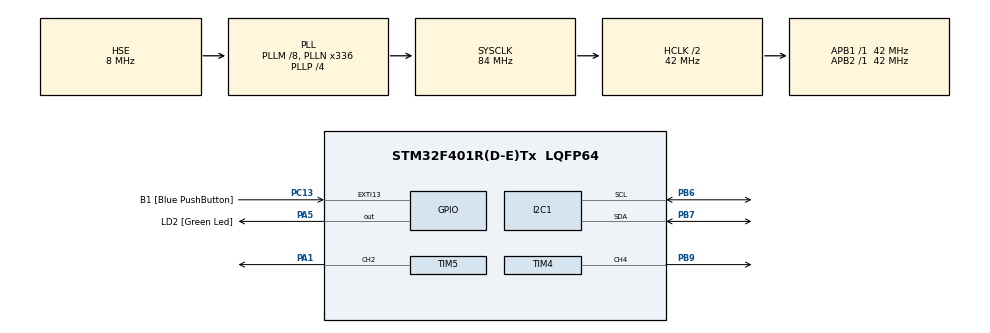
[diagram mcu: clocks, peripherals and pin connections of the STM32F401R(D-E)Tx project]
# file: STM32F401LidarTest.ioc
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I2C1.OwnAddress=0x52
Mcu.Family=STM32F4
Mcu.Name=STM32F401R(D-E)Tx
Mcu.Package=LQFP64
NVIC.PriorityGroup=NVIC_PRIORITYGROUP_0
PA1.Signal=S_TIM5_CH2
PA13.GPIO_Label=TMS
PA13.Mode=Serial_Wire
PA13.Signal=SYS_JTMS-SWDIO
PA14.GPIO_Label=TCK
PA14.Mode=Serial_Wire
PA14.Signal=SYS_JTCK-SWCLK
PA2.GPIO_Label=USART_TX
PA2.GPIO_Mode=GPIO_MODE_AF_PP
PA2.GPIO_PuPd=GPIO_NOPULL
PA2.GPIO_Speed=GPIO_SPEED_FREQ_LOW
PA2.Signal=USART2_TX
PA3.GPIO_Label=USART_RX
PA3.GPIO_Mode=GPIO_MODE_AF_PP
PA3.GPIO_PuPd=GPIO_NOPULL
PA3.GPIO_Speed=GPIO_SPEED_FREQ_LOW
PA3.Signal=USART2_RX
PA5.GPIO_Label=LD2 [Green Led]
PA5.GPIO_Mode=GPIO_MODE_OUTPUT_PP
PA5.GPIO_PuPd=GPIO_NOPULL
PA5.GPIO_Speed=GPIO_SPEED_FREQ_HIGH
PA5.PinState=GPIO_PIN_RESET
PA5.Signal=GPIO_Output
PB3.GPIO_Label=SWO
PB3.Signal=SYS_JTDO-SWO
PB6.Mode=I2C
PB6.Signal=I2C1_SCL
PB7.Mode=I2C
PB7.Signal=I2C1_SDA
PB9.GPIO_Speed=GPIO_SPEED_FREQ_HIGH
PB9.Signal=S_TIM4_CH4
PC13-ANTI_TAMP.GPIO_Label=B1 [Blue PushButton]
PC13-ANTI_TAMP.GPIO_ModeDefaultEXTI=GPIO_MODE_IT_FALLING
PC13-ANTI_TAMP.GPIO_PuPd=GPIO_NOPULL
PC13-ANTI_TAMP.Signal=GPXTI13
PC14-OSC32_IN.Mode=LSE-External-Oscillator
PC14-OSC32_IN.Signal=RCC_OSC32_IN
PC15-OSC32_OUT.Mode=LSE-External-Oscillator
PC15-OSC32_OUT.Signal=RCC_OSC32_OUT
PH0\ -\ OSC_IN.Mode=HSE-External-Oscillator
PH0\ -\ OSC_IN.Signal=RCC_OSC_IN
PH1\ -\ OSC_OUT.Mode=HSE-External-Oscillator
PH1\ -\ OSC_OUT.Signal=RCC_OSC_OUT
ProjectManager.HeapSize=0x200
ProjectManager.StackSize=0x400
ProjectManager.TargetToolchain=STM32CubeIDE
RCC.48MHZClocksFreq_Value=48000000
RCC.AHBCLKDivider=RCC_SYSCLK_DIV2
RCC.AHBFreq_Value=42000000
RCC.APB1Freq_Value=42000000
RCC.APB1TimFreq_Value=42000000
RCC.APB2Freq_Value=42000000
RCC.APB2TimFreq_Value=42000000
RCC.CortexFreq_Value=42000000
RCC.HCLKFreq_Value=42000000
RCC.HSE_VALUE=8000000
RCC.HSI_VALUE=16000000
RCC.PLLM=8
RCC.PLLN=336
RCC.PLLP=RCC_PLLP_DIV4
RCC.PLLQ=7
RCC.PLLSourceVirtual=RCC_PLLSOURCE_HSE
RCC.SYSCLKFreq_VALUE=84000000
RCC.SYSCLKSource=RCC_SYSCLKSOURCE_PLLCLK
RCC.VCOOutputFreq_Value=336000000
SH.S_TIM4_CH4.0=TIM4_CH4,PWM Generation4 CH4
SH.S_TIM5_CH2.0=TIM5_CH2,PWM Generation2 CH2
TIM3.Prescaler=8400
TIM4.Channel-PWM\ Generation4\ CH4=TIM_CHANNEL_4
TIM4.Prescaler=12
TIM4.Pulse-PWM\ Generation4\ CH4=1000
TIM4.TIM_MasterOutputTrigger=TIM_TRGO_UPDATE
TIM5.Channel-PWM\ Generation2\ CH2=TIM_CHANNEL_2
TIM5.Period=840000
TIM5.Prescaler=1
TIM5.Pulse-PWM\ Generation2\ CH2=1000
TIM5.TIM_MasterOutputTrigger=TIM_TRGO_UPDATE
VP_TIM3_VS_ClockSourceINT.Mode=Internal
VP_TIM4_VS_ClockSourceINT.Mode=Internal
board=NUCLEO-F401RE

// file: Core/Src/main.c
/* USER CODE BEGIN Header */
/**
  ******************************************************************************
  * @file           : main.c
  * @brief          : Main program body
  ******************************************************************************
  * @attention
  *
  * Copyright (c) 2022 STMicroelectronics.
  * All rights reserved.
  *
  * This software is licensed under terms that can be found in the LICENSE file
  * in the root directory of this software component.
  * If no LICENSE file comes with this software, it is provided AS-IS.
  *
  ******************************************************************************
  */
/* USER CODE END Header */
#include "main.h"

/* USER CODE BEGIN Includes */
#include "VL53L1X_api.h"
#include "VL53L1X_calibration.h"
#include "vl53l1_platform.h"
#include "vl53l1_types.h"
/* USER CODE END Includes */

/* USER CODE BEGIN PM */

I2C_HandleTypeDef hi2c1;
/* USER CODE END PM */

TIM_HandleTypeDef htim3;
TIM_HandleTypeDef htim4;
TIM_HandleTypeDef htim5;

void SystemClock_Config(void);
static void MX_GPIO_Init(void);
static void MX_TIM4_Init(void);
static void MX_TIM5_Init(void);
static void MX_TIM3_Init(void);
static void MX_I2C1_Init(void);

/* USER CODE BEGIN 0 */

void startIdleTimer(uint16_t period){

	HAL_TIM_Base_Init(&htim3);
	TIM3->ARR=period;
	TIM3->CNT=0;
	HAL_TIM_Base_Start(&htim3);
}

void waitForIdleTimer(){
	while((TIM3->CNT+1)>=TIM3->ARR);
}

uint16_t interpolate(float ratio,uint16_t min,uint16_t max){

	return min+(((float)(max-min))*ratio);

}
#define rxDataLen 4
uint16_t	dev=0x52;
int status=0;
volatile int IntCount;
#define isInterrupt 0

I2C_HandleTypeDef * pLaserI2Chandle;

/*
float getDist(){
	uint8_t
	uint32_t response = HAL_I2C_Master_Transmit(&hi2c1, 0x52, , , 100);
	uint8_t rxData[rxDataLen];
	HAL_I2C_Master_Receive(&hi2c1, 0x53,rxData,rxDataLen,100);
}*/
/* USER CODE END 0 */

int main(void)
{

  /* MCU Configuration--------------------------------------------------------*/

  /* Reset of all peripherals, Initializes the Flash interface and the Systick. */
  HAL_Init();

  /* Configure the system clock */
  SystemClock_Config();

  /* Initialize all configured peripherals */
  MX_GPIO_Init();
  MX_TIM4_Init();
  MX_TIM5_Init();
  MX_TIM3_Init();
  MX_I2C1_Init();
  /* USER CODE BEGIN 2 */

  float position=0;
  uint8_t dir=0;
  volatile float increment=0.01;
  uint16_t potMax=TIM4->ARR*0.26;
  uint16_t potMin=TIM4->ARR*0.05;
  volatile uint8_t allowTurn=0;

  //for laser
  uint8_t byteData, sensorState=0;
  uint16_t wordData;
  uint8_t ToFSensor = 1; // 0=Left, 1=Center(default), 2=Right
  uint16_t Distance;
  uint16_t SignalRate;
  uint16_t AmbientRate;
  uint16_t SpadNum;
  uint8_t RangeStatus;
  uint8_t dataReady;

  HAL_TIM_Base_Init(&htim3);
  HAL_TIM_PWM_Init(&htim4);
  HAL_TIM_Base_Start(&htim3);

  HAL_TIM_PWM_Start(&htim4, TIM_CHANNEL_4);

  HAL_I2C_Init(&hi2c1);

  pLaserI2Chandle=&hi2c1;
  volatile uint8_t bootState=0;
  VL53L1X_BootState(dev, bootState);

  status = VL53L1_RdByte(dev, 0x010F, &byteData);

    status = VL53L1_RdByte(dev, 0x0110, &byteData);
    status = VL53L1_RdWord(dev, 0x010F, &wordData);
    while(sensorState==0){
  		status = VL53L1X_BootState(dev, &sensorState);
  	HAL_Delay(2);
    }

  status = VL53L1X_SensorInit(dev);
  status = VL53L1X_SetDistanceMode(dev, 2); /* 1=short, 2=long */
  status = VL53L1X_SetTimingBudgetInMs(dev, 100); /* in ms possible values [20, 50, 100, 200, 500] */
  status = VL53L1X_SetInterMeasurementInMs(dev, 100); /* in ms, IM must be > = TB */

  status = VL53L1X_StartRanging(dev);

  /* USER CODE END 2 */
  /* Infinite loop */
  /* USER CODE BEGIN WHILE */
  while (1)
  {
	  //startIdleTimer(idleTime);

	  switch (allowTurn) {
	  case 0:
		  if(position!=0){
			  position=0;
			  TIM4->CCR4=potMin;
		  }
		  break;
	  default:

		  switch (dir) {
		  case 0:
			  if(position>=1-increment){
				  dir=1;
				  position=1;
			  }
			  else{
				  position+=increment;
			  }

			  break;
		  case 1:
			  if(position<=increment){
				  dir=0;
				  position=0;
			  }
			  else{
				  position-=increment;
			  }

			  break;
		  }

		  TIM4->CCR4=interpolate(position,potMin,potMax);

		  break;
	  }
	  while (dataReady == 0){
	  		  status = VL53L1X_CheckForDataReady(dev, &dataReady);
	  		  HAL_Delay(2);
	  	  }
	  	  dataReady = 0;
	  	  status = VL53L1X_GetRangeStatus(dev, &RangeStatus);
	  	  status = VL53L1X_GetDistance(dev, &Distance);
	  	  status = VL53L1X_GetSignalRate(dev, &SignalRate);
	  	  status = VL53L1X_GetAmbientRate(dev, &AmbientRate);
	  	  status = VL53L1X_GetSpadNb(dev, &SpadNum);
	  	  status = VL53L1X_ClearInterrupt(dev); /* clear interrupt has to be called to enable next interrupt*/
	  	  printf("%u, %u, %u, %u, %u\n", RangeStatus, Distance, SignalRate, AmbientRate,SpadNum);

    /* USER CODE END WHILE */

  }
}

void SystemClock_Config(void)
{
  RCC_OscInitTypeDef RCC_OscInitStruct = {0};
  RCC_ClkInitTypeDef RCC_ClkInitStruct = {0};

  /** Configure the main internal regulator output voltage
  */
  __HAL_RCC_PWR_CLK_ENABLE();
  __HAL_PWR_VOLTAGESCALING_CONFIG(PWR_REGULATOR_VOLTAGE_SCALE2);

  /** Initializes the RCC Oscillators according to the specified parameters
  * in the RCC_OscInitTypeDef structure.
  */
  RCC_OscInitStruct.OscillatorType = RCC_OSCILLATORTYPE_HSE;
  RCC_OscInitStruct.HSEState = RCC_HSE_ON;
  RCC_OscInitStruct.PLL.PLLState = RCC_PLL_ON;
  RCC_OscInitStruct.PLL.PLLSource = RCC_PLLSOURCE_HSE;
  RCC_OscInitStruct.PLL.PLLM = 8;
  RCC_OscInitStruct.PLL.PLLN = 336;
  RCC_OscInitStruct.PLL.PLLP = RCC_PLLP_DIV4;
  RCC_OscInitStruct.PLL.PLLQ = 7;
  if (HAL_RCC_OscConfig(&RCC_OscInitStruct) != HAL_OK)
  {
    Error_Handler();
  }

  /** Initializes the CPU, AHB and APB buses clocks
  */
  RCC_ClkInitStruct.ClockType = RCC_CLOCKTYPE_HCLK|RCC_CLOCKTYPE_SYSCLK
                              |RCC_CLOCKTYPE_PCLK1|RCC_CLOCKTYPE_PCLK2;
  RCC_ClkInitStruct.SYSCLKSource = RCC_SYSCLKSOURCE_PLLCLK;
  RCC_ClkInitStruct.AHBCLKDivider = RCC_SYSCLK_DIV2;
  RCC_ClkInitStruct.APB1CLKDivider = RCC_HCLK_DIV1;
  RCC_ClkInitStruct.APB2CLKDivider = RCC_HCLK_DIV1;

  if (HAL_RCC_ClockConfig(&RCC_ClkInitStruct, FLASH_LATENCY_1) != HAL_OK)
  {
    Error_Handler();
  }
}

static void MX_I2C1_Init(void)
{

  hi2c1.Instance = I2C1;
  hi2c1.Init.ClockSpeed = 100000;
  hi2c1.Init.DutyCycle = I2C_DUTYCYCLE_2;
  hi2c1.Init.OwnAddress1 = 164;
  hi2c1.Init.AddressingMode = I2C_ADDRESSINGMODE_7BIT;
  hi2c1.Init.DualAddressMode = I2C_DUALADDRESS_DISABLE;
  hi2c1.Init.OwnAddress2 = 0;
  hi2c1.Init.GeneralCallMode = I2C_GENERALCALL_DISABLE;
  hi2c1.Init.NoStretchMode = I2C_NOSTRETCH_DISABLE;
  if (HAL_I2C_Init(&hi2c1) != HAL_OK)
  {
    Error_Handler();
  }

}

static void MX_TIM3_Init(void)
{

  TIM_ClockConfigTypeDef sClockSourceConfig = {0};
  TIM_MasterConfigTypeDef sMasterConfig = {0};

  htim3.Instance = TIM3;
  htim3.Init.Prescaler = 8400;
  htim3.Init.CounterMode = TIM_COUNTERMODE_UP;
  htim3.Init.Period = 65535;
  htim3.Init.ClockDivision = TIM_CLOCKDIVISION_DIV1;
  htim3.Init.AutoReloadPreload = TIM_AUTORELOAD_PRELOAD_DISABLE;
  if (HAL_TIM_Base_Init(&htim3) != HAL_OK)
  {
    Error_Handler();
  }
  sClockSourceConfig.ClockSource = TIM_CLOCKSOURCE_INTERNAL;
  if (HAL_TIM_ConfigClockSource(&htim3, &sClockSourceConfig) != HAL_OK)
  {
    Error_Handler();
  }
  sMasterConfig.MasterOutputTrigger = TIM_TRGO_RESET;
  sMasterConfig.MasterSlaveMode = TIM_MASTERSLAVEMODE_DISABLE;
  if (HAL_TIMEx_MasterConfigSynchronization(&htim3, &sMasterConfig) != HAL_OK)
  {
    Error_Handler();
  }

}

static void MX_TIM4_Init(void)
{

  TIM_ClockConfigTypeDef sClockSourceConfig = {0};
  TIM_MasterConfigTypeDef sMasterConfig = {0};
  TIM_OC_InitTypeDef sConfigOC = {0};

  htim4.Instance = TIM4;
  htim4.Init.Prescaler = 12;
  htim4.Init.CounterMode = TIM_COUNTERMODE_UP;
  htim4.Init.Period = 65535;
  htim4.Init.ClockDivision = TIM_CLOCKDIVISION_DIV1;
  htim4.Init.AutoReloadPreload = TIM_AUTORELOAD_PRELOAD_DISABLE;
  if (HAL_TIM_Base_Init(&htim4) != HAL_OK)
  {
    Error_Handler();
  }
  sClockSourceConfig.ClockSource = TIM_CLOCKSOURCE_INTERNAL;
  if (HAL_TIM_ConfigClockSource(&htim4, &sClockSourceConfig) != HAL_OK)
  {
    Error_Handler();
  }
  if (HAL_TIM_PWM_Init(&htim4) != HAL_OK)
  {
    Error_Handler();
  }
  sMasterConfig.MasterOutputTrigger = TIM_TRGO_UPDATE;
  sMasterConfig.MasterSlaveMode = TIM_MASTERSLAVEMODE_DISABLE;
  if (HAL_TIMEx_MasterConfigSynchronization(&htim4, &sMasterConfig) != HAL_OK)
  {
    Error_Handler();
  }
  sConfigOC.OCMode = TIM_OCMODE_PWM1;
  sConfigOC.Pulse = 1000;
  sConfigOC.OCPolarity = TIM_OCPOLARITY_HIGH;
  sConfigOC.OCFastMode = TIM_OCFAST_DISABLE;
  if (HAL_TIM_PWM_ConfigChannel(&htim4, &sConfigOC, TIM_CHANNEL_4) != HAL_OK)
  {
    Error_Handler();
  }
  HAL_TIM_MspPostInit(&htim4);

}

static void MX_TIM5_Init(void)
{

  TIM_MasterConfigTypeDef sMasterConfig = {0};
  TIM_OC_InitTypeDef sConfigOC = {0};

  htim5.Instance = TIM5;
  htim5.Init.Prescaler = 1;
  htim5.Init.CounterMode = TIM_COUNTERMODE_UP;
  htim5.Init.Period = 840000;
  htim5.Init.ClockDivision = TIM_CLOCKDIVISION_DIV1;
  htim5.Init.AutoReloadPreload = TIM_AUTORELOAD_PRELOAD_DISABLE;
  if (HAL_TIM_PWM_Init(&htim5) != HAL_OK)
  {
    Error_Handler();
  }
  sMasterConfig.MasterOutputTrigger = TIM_TRGO_UPDATE;
  sMasterConfig.MasterSlaveMode = TIM_MASTERSLAVEMODE_DISABLE;
  if (HAL_TIMEx_MasterConfigSynchronization(&htim5, &sMasterConfig) != HAL_OK)
  {
    Error_Handler();
  }
  sConfigOC.OCMode = TIM_OCMODE_PWM1;
  sConfigOC.Pulse = 1000;
  sConfigOC.OCPolarity = TIM_OCPOLARITY_HIGH;
  sConfigOC.OCFastMode = TIM_OCFAST_DISABLE;
  if (HAL_TIM_PWM_ConfigChannel(&htim5, &sConfigOC, TIM_CHANNEL_2) != HAL_OK)
  {
    Error_Handler();
  }
  HAL_TIM_MspPostInit(&htim5);

}

static void MX_GPIO_Init(void)
{
  GPIO_InitTypeDef GPIO_InitStruct = {0};

  /* GPIO Ports Clock Enable */
  __HAL_RCC_GPIOC_CLK_ENABLE();
  __HAL_RCC_GPIOH_CLK_ENABLE();
  __HAL_RCC_GPIOA_CLK_ENABLE();
  __HAL_RCC_GPIOB_CLK_ENABLE();

  /*Configure GPIO pin Output Level */
  HAL_GPIO_WritePin(LD2_GPIO_Port, LD2_Pin, GPIO_PIN_RESET);

  /*Configure GPIO pin : B1_Pin */
  GPIO_InitStruct.Pin = B1_Pin;
  GPIO_InitStruct.Mode = GPIO_MODE_IT_FALLING;
  GPIO_InitStruct.Pull = GPIO_NOPULL;
  HAL_GPIO_Init(B1_GPIO_Port, &GPIO_InitStruct);

  /*Configure GPIO pins : USART_TX_Pin USART_RX_Pin */
  GPIO_InitStruct.Pin = USART_TX_Pin|USART_RX_Pin;
  GPIO_InitStruct.Mode = GPIO_MODE_AF_PP;
  GPIO_InitStruct.Pull = GPIO_NOPULL;
  GPIO_InitStruct.Speed = GPIO_SPEED_FREQ_LOW;
  GPIO_InitStruct.Alternate = GPIO_AF7_USART2;
  HAL_GPIO_Init(GPIOA, &GPIO_InitStruct);

  /*Configure GPIO pin : LD2_Pin */
  GPIO_InitStruct.Pin = LD2_Pin;
  GPIO_InitStruct.Mode = GPIO_MODE_OUTPUT_PP;
  GPIO_InitStruct.Pull = GPIO_NOPULL;
  GPIO_InitStruct.Speed = GPIO_SPEED_FREQ_HIGH;
  HAL_GPIO_Init(LD2_GPIO_Port, &GPIO_InitStruct);

}

void Error_Handler(void)
{
  __disable_irq();
  while (1)
  {
  }
}
